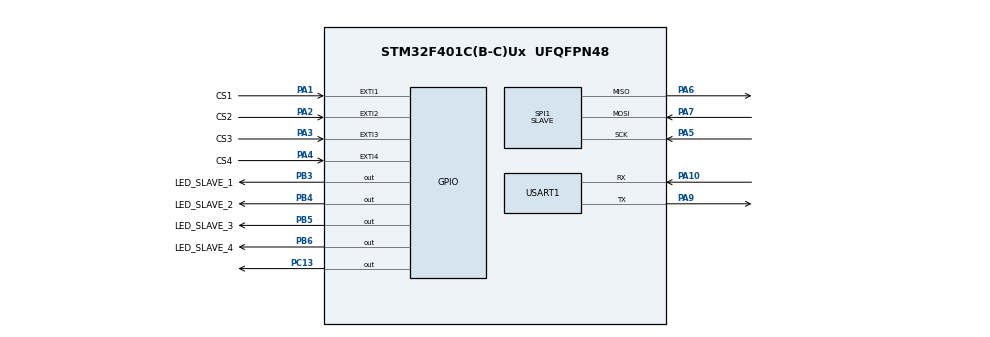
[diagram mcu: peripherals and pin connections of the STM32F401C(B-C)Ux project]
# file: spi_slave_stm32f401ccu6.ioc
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Mcu.Family=STM32F4
Mcu.Name=STM32F401C(B-C)Ux
Mcu.Package=UFQFPN48
NVIC.PriorityGroup=NVIC_PRIORITYGROUP_4
NVIC.SPI1_IRQn=true\:0\:0\:false\:false\:true\:true\:true\:true
PA1.GPIO_Label=CS1
PA1.GPIO_ModeDefaultEXTI=GPIO_MODE_IT_RISING_FALLING
PA1.GPIO_PuPd=GPIO_PULLUP
PA1.Signal=GPXTI1
PA10.Mode=Asynchronous
PA10.Signal=USART1_RX
PA13.Mode=Serial_Wire
PA13.Signal=SYS_JTMS-SWDIO
PA14.Mode=Serial_Wire
PA14.Signal=SYS_JTCK-SWCLK
PA2.GPIO_Label=CS2
PA2.GPIO_ModeDefaultEXTI=GPIO_MODE_IT_RISING_FALLING
PA2.GPIO_PuPd=GPIO_PULLUP
PA2.Signal=GPXTI2
PA3.GPIO_Label=CS3
PA3.GPIO_ModeDefaultEXTI=GPIO_MODE_IT_RISING_FALLING
PA3.GPIO_PuPd=GPIO_PULLUP
PA3.Signal=GPXTI3
PA4.GPIO_Label=CS4
PA4.GPIO_ModeDefaultEXTI=GPIO_MODE_IT_RISING_FALLING
PA4.GPIO_PuPd=GPIO_PULLUP
PA4.Signal=GPXTI4
PA5.GPIO_Speed=GPIO_SPEED_FREQ_VERY_HIGH
PA5.Mode=Full_Duplex_Slave
PA5.Signal=SPI1_SCK
PA6.GPIO_Speed=GPIO_SPEED_FREQ_VERY_HIGH
PA6.Mode=Full_Duplex_Slave
PA6.Signal=SPI1_MISO
PA7.GPIO_Speed=GPIO_SPEED_FREQ_VERY_HIGH
PA7.Mode=Full_Duplex_Slave
PA7.Signal=SPI1_MOSI
PA9.Mode=Asynchronous
PA9.Signal=USART1_TX
PB3.GPIO_Label=LED_SLAVE_1
PB3.Signal=GPIO_Output
PB4.GPIO_Label=LED_SLAVE_2
PB4.Signal=GPIO_Output
PB5.GPIO_Label=LED_SLAVE_3
PB5.Signal=GPIO_Output
PB6.GPIO_Label=LED_SLAVE_4
PB6.Signal=GPIO_Output
PC13-ANTI_TAMP.Signal=GPIO_Output
PH0\ -\ OSC_IN.Mode=HSE-External-Oscillator
PH0\ -\ OSC_IN.Signal=RCC_OSC_IN
PH1\ -\ OSC_OUT.Mode=HSE-External-Oscillator
PH1\ -\ OSC_OUT.Signal=RCC_OSC_OUT
ProjectManager.HeapSize=0x200
ProjectManager.StackSize=0x400
ProjectManager.TargetToolchain=STM32CubeIDE
RCC.AHBCLKDivider=RCC_SYSCLK_DIV2
RCC.AHBFreq_Value=8000000
RCC.APB1Freq_Value=8000000
RCC.APB1TimFreq_Value=8000000
RCC.APB2Freq_Value=8000000
RCC.APB2TimFreq_Value=8000000
RCC.CortexFreq_Value=8000000
RCC.HCLKFreq_Value=8000000
RCC.HSE_VALUE=25000000
RCC.HSI_VALUE=16000000
RCC.LSE_VALUE=32768
RCC.SYSCLKFreq_VALUE=16000000
RCC.VCOOutputFreq_Value=192000000
SPI1.Direction=SPI_DIRECTION_2LINES
SPI1.Mode=SPI_MODE_SLAVE
SPI1.VirtualType=VM_SLAVE
USART1.VirtualMode=VM_ASYNC
board=custom

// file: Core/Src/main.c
/* USER CODE BEGIN Header */
/**
 ******************************************************************************
 * @file           : main.c
 * @brief          : Main program body
 ******************************************************************************
 * @attention
 *
 * Copyright (c) 2024 STMicroelectronics.
 * All rights reserved.
 *
 * This software is licensed under terms that can be found in the LICENSE file
 * in the root directory of this software component.
 * If no LICENSE file comes with this software, it is provided AS-IS.
 *
 ******************************************************************************
 */
/* USER CODE END Header */
#include "main.h"

/* USER CODE BEGIN Includes */
#include "string.h"
#include "stdarg.h"
#include "stdio.h"
#include "stdbool.h"
#include "slave_reg.h"
/* USER CODE END Includes */

/* USER CODE BEGIN PV */
uint8_t data[100] = {0};
uint8_t *global_rxdata;
uint8_t global_rxindex;
uint8_t global_rxlen;

uint8_t global_txdata[100];
uint8_t global_txlen = 100;
uint8_t global_txindex = 0;

char g_slave_choice;

slave_t slaves[4] = {
    {.device_id = 1, .memory = {0}},
    {.device_id = 2, .memory = {0}},
    {.device_id = 3, .memory = {0}},
    {.device_id = 4, .memory = {0}}};
slave_t *slave1 = &slaves[0];
slave_t *slave2 = &slaves[1];
/* USER CODE END PV */

void SystemClock_Config(void);
static void MX_GPIO_Init(void);
static void MX_SPI1_Init(void);
static void MX_USART1_UART_Init(void);
/* USER CODE BEGIN PFP */
bool spi_receive_it(uint8_t *pData, uint8_t len, uint32_t timeout);
/* USER CODE END PFP */

int main(void)
{

  /* MCU Configuration--------------------------------------------------------*/

  /* Reset of all peripherals, Initializes the Flash interface and the Systick. */
  LL_APB2_GRP1_EnableClock(LL_APB2_GRP1_PERIPH_SYSCFG);
  LL_APB1_GRP1_EnableClock(LL_APB1_GRP1_PERIPH_PWR);

  /* System interrupt init*/
  NVIC_SetPriorityGrouping(NVIC_PRIORITYGROUP_4);

  /* SysTick_IRQn interrupt configuration */
  NVIC_SetPriority(SysTick_IRQn, NVIC_EncodePriority(NVIC_GetPriorityGrouping(), 15, 0));

  /* Configure the system clock */
  SystemClock_Config();

  /* Initialize all configured peripherals */
  MX_GPIO_Init();
  MX_SPI1_Init();
  MX_USART1_UART_Init();
  /* USER CODE BEGIN 2 */
  uart_printf("test uart printf\r\n");
  //  LL_SPI_EnableIT_RXNE(SPI1);
  //  uart_printf("data test: 0x%02X\r\n", 0x34);
  // Bật ngắt bộ đệm truy�?n
  //  LL_SPI_EnableIT_TXE(SPI1);
  //  uint32_t rxdata[10] = {0x12, 0x34, 0x56, 0x78, 0x9A, 0xBC, 0xDE, 0xF0, 0x11, 0x22};
  //  for(int i=0;i<10;i++)
  //	  uart_printf("rx_data=0x%02X\r\n",rxdata[i]);

  spi_receive_it(data, 100, 1000);
  /* USER CODE END 2 */

  /* Infinite loop */
  while (1)
  {

    /* USER CODE BEGIN 3 */
    //	  spi_receive_it(data, 100, 1000);
    //	  LL_mDelay(1000);
  }
  /* USER CODE END 3 */
}

void SystemClock_Config(void)
{
  LL_FLASH_SetLatency(LL_FLASH_LATENCY_0);
  while (LL_FLASH_GetLatency() != LL_FLASH_LATENCY_0)
  {
  }
  LL_PWR_SetRegulVoltageScaling(LL_PWR_REGU_VOLTAGE_SCALE2);
  LL_RCC_HSI_SetCalibTrimming(16);
  LL_RCC_HSI_Enable();

  /* Wait till HSI is ready */
  while (LL_RCC_HSI_IsReady() != 1)
  {
  }
  LL_RCC_SetAHBPrescaler(LL_RCC_SYSCLK_DIV_2);
  LL_RCC_SetAPB1Prescaler(LL_RCC_APB1_DIV_1);
  LL_RCC_SetAPB2Prescaler(LL_RCC_APB2_DIV_1);
  LL_RCC_SetSysClkSource(LL_RCC_SYS_CLKSOURCE_HSI);

  /* Wait till System clock is ready */
  while (LL_RCC_GetSysClkSource() != LL_RCC_SYS_CLKSOURCE_STATUS_HSI)
  {
  }
  LL_Init1msTick(8000000);
  LL_SetSystemCoreClock(8000000);
  LL_RCC_SetTIMPrescaler(LL_RCC_TIM_PRESCALER_TWICE);
}

static void MX_SPI1_Init(void)
{

  LL_SPI_InitTypeDef SPI_InitStruct = {0};

  LL_GPIO_InitTypeDef GPIO_InitStruct = {0};

  /* Peripheral clock enable */
  LL_APB2_GRP1_EnableClock(LL_APB2_GRP1_PERIPH_SPI1);

  LL_AHB1_GRP1_EnableClock(LL_AHB1_GRP1_PERIPH_GPIOA);
  /**SPI1 GPIO Configuration
  PA5   ------> SPI1_SCK
  PA6   ------> SPI1_MISO
  PA7   ------> SPI1_MOSI
  */
  GPIO_InitStruct.Pin = LL_GPIO_PIN_5 | LL_GPIO_PIN_6 | LL_GPIO_PIN_7;
  GPIO_InitStruct.Mode = LL_GPIO_MODE_ALTERNATE;
  GPIO_InitStruct.Speed = LL_GPIO_SPEED_FREQ_VERY_HIGH;
  GPIO_InitStruct.OutputType = LL_GPIO_OUTPUT_PUSHPULL;
  GPIO_InitStruct.Pull = LL_GPIO_PULL_NO;
  GPIO_InitStruct.Alternate = LL_GPIO_AF_5;
  LL_GPIO_Init(GPIOA, &GPIO_InitStruct);

  /* SPI1 interrupt Init */
  NVIC_SetPriority(SPI1_IRQn, NVIC_EncodePriority(NVIC_GetPriorityGrouping(), 0, 0));
  NVIC_EnableIRQ(SPI1_IRQn);

  /* SPI1 parameter configuration*/
  SPI_InitStruct.TransferDirection = LL_SPI_FULL_DUPLEX;
  SPI_InitStruct.Mode = LL_SPI_MODE_SLAVE;
  SPI_InitStruct.DataWidth = LL_SPI_DATAWIDTH_8BIT;
  SPI_InitStruct.ClockPolarity = LL_SPI_POLARITY_LOW;
  SPI_InitStruct.ClockPhase = LL_SPI_PHASE_1EDGE;
  SPI_InitStruct.NSS = LL_SPI_NSS_SOFT;
  SPI_InitStruct.BitOrder = LL_SPI_MSB_FIRST;
  SPI_InitStruct.CRCCalculation = LL_SPI_CRCCALCULATION_DISABLE;
  SPI_InitStruct.CRCPoly = 10;
  LL_SPI_Init(SPI1, &SPI_InitStruct);
  LL_SPI_SetStandard(SPI1, LL_SPI_PROTOCOL_MOTOROLA);
  /* USER CODE BEGIN SPI1_Init 2 */
  LL_SPI_Enable(SPI1);
  /* USER CODE END SPI1_Init 2 */
  //  LL_SPI_SetDataWidth(SPI1, LL_SPI_DATAWIDTH_16BIT);
}

static void MX_USART1_UART_Init(void)
{

  LL_USART_InitTypeDef USART_InitStruct = {0};

  LL_GPIO_InitTypeDef GPIO_InitStruct = {0};

  /* Peripheral clock enable */
  LL_APB2_GRP1_EnableClock(LL_APB2_GRP1_PERIPH_USART1);

  LL_AHB1_GRP1_EnableClock(LL_AHB1_GRP1_PERIPH_GPIOA);
  /**USART1 GPIO Configuration
  PA9   ------> USART1_TX
  PA10   ------> USART1_RX
  */
  GPIO_InitStruct.Pin = LL_GPIO_PIN_9 | LL_GPIO_PIN_10;
  GPIO_InitStruct.Mode = LL_GPIO_MODE_ALTERNATE;
  GPIO_InitStruct.Speed = LL_GPIO_SPEED_FREQ_VERY_HIGH;
  GPIO_InitStruct.OutputType = LL_GPIO_OUTPUT_PUSHPULL;
  GPIO_InitStruct.Pull = LL_GPIO_PULL_NO;
  GPIO_InitStruct.Alternate = LL_GPIO_AF_7;
  LL_GPIO_Init(GPIOA, &GPIO_InitStruct);

  USART_InitStruct.BaudRate = 115200;
  USART_InitStruct.DataWidth = LL_USART_DATAWIDTH_8B;
  USART_InitStruct.StopBits = LL_USART_STOPBITS_1;
  USART_InitStruct.Parity = LL_USART_PARITY_NONE;
  USART_InitStruct.TransferDirection = LL_USART_DIRECTION_TX_RX;
  USART_InitStruct.HardwareFlowControl = LL_USART_HWCONTROL_NONE;
  USART_InitStruct.OverSampling = LL_USART_OVERSAMPLING_16;
  LL_USART_Init(USART1, &USART_InitStruct);
  LL_USART_ConfigAsyncMode(USART1);
  LL_USART_Enable(USART1);
}

static void MX_GPIO_Init(void)
{
  LL_EXTI_InitTypeDef EXTI_InitStruct = {0};
  LL_GPIO_InitTypeDef GPIO_InitStruct = {0};

  /* GPIO Ports Clock Enable */
  LL_AHB1_GRP1_EnableClock(LL_AHB1_GRP1_PERIPH_GPIOC);
  LL_AHB1_GRP1_EnableClock(LL_AHB1_GRP1_PERIPH_GPIOH);
  LL_AHB1_GRP1_EnableClock(LL_AHB1_GRP1_PERIPH_GPIOA);
  LL_AHB1_GRP1_EnableClock(LL_AHB1_GRP1_PERIPH_GPIOB);

  /**/
  LL_GPIO_ResetOutputPin(GPIOC, LL_GPIO_PIN_13);

  /**/
  LL_GPIO_ResetOutputPin(GPIOB, LED_SLAVE_1_Pin | LED_SLAVE_2_Pin | LED_SLAVE_3_Pin | LED_SLAVE_4_Pin);

  /**/
  GPIO_InitStruct.Pin = LL_GPIO_PIN_13;
  GPIO_InitStruct.Mode = LL_GPIO_MODE_OUTPUT;
  GPIO_InitStruct.Speed = LL_GPIO_SPEED_FREQ_LOW;
  GPIO_InitStruct.OutputType = LL_GPIO_OUTPUT_PUSHPULL;
  GPIO_InitStruct.Pull = LL_GPIO_PULL_NO;
  LL_GPIO_Init(GPIOC, &GPIO_InitStruct);

  /**/
  GPIO_InitStruct.Pin = LED_SLAVE_1_Pin | LED_SLAVE_2_Pin | LED_SLAVE_3_Pin | LED_SLAVE_4_Pin;
  GPIO_InitStruct.Mode = LL_GPIO_MODE_OUTPUT;
  GPIO_InitStruct.Speed = LL_GPIO_SPEED_FREQ_LOW;
  GPIO_InitStruct.OutputType = LL_GPIO_OUTPUT_PUSHPULL;
  GPIO_InitStruct.Pull = LL_GPIO_PULL_NO;
  LL_GPIO_Init(GPIOB, &GPIO_InitStruct);

  /**/
  LL_SYSCFG_SetEXTISource(LL_SYSCFG_EXTI_PORTA, LL_SYSCFG_EXTI_LINE1);

  /**/
  LL_SYSCFG_SetEXTISource(LL_SYSCFG_EXTI_PORTA, LL_SYSCFG_EXTI_LINE2);

  /**/
  LL_SYSCFG_SetEXTISource(LL_SYSCFG_EXTI_PORTA, LL_SYSCFG_EXTI_LINE3);

  /**/
  LL_SYSCFG_SetEXTISource(LL_SYSCFG_EXTI_PORTA, LL_SYSCFG_EXTI_LINE4);

  /**/
  EXTI_InitStruct.Line_0_31 = LL_EXTI_LINE_1;
  EXTI_InitStruct.LineCommand = ENABLE;
  EXTI_InitStruct.Mode = LL_EXTI_MODE_IT;
  EXTI_InitStruct.Trigger = LL_EXTI_TRIGGER_RISING_FALLING;
  LL_EXTI_Init(&EXTI_InitStruct);

  /**/
  EXTI_InitStruct.Line_0_31 = LL_EXTI_LINE_2;
  EXTI_InitStruct.LineCommand = ENABLE;
  EXTI_InitStruct.Mode = LL_EXTI_MODE_IT;
  EXTI_InitStruct.Trigger = LL_EXTI_TRIGGER_RISING_FALLING;
  LL_EXTI_Init(&EXTI_InitStruct);

  /**/
  EXTI_InitStruct.Line_0_31 = LL_EXTI_LINE_3;
  EXTI_InitStruct.LineCommand = ENABLE;
  EXTI_InitStruct.Mode = LL_EXTI_MODE_IT;
  EXTI_InitStruct.Trigger = LL_EXTI_TRIGGER_RISING_FALLING;
  LL_EXTI_Init(&EXTI_InitStruct);

  /**/
  EXTI_InitStruct.Line_0_31 = LL_EXTI_LINE_4;
  EXTI_InitStruct.LineCommand = ENABLE;
  EXTI_InitStruct.Mode = LL_EXTI_MODE_IT;
  EXTI_InitStruct.Trigger = LL_EXTI_TRIGGER_RISING_FALLING;
  LL_EXTI_Init(&EXTI_InitStruct);

  /**/
  LL_GPIO_SetPinPull(CS1_GPIO_Port, CS1_Pin, LL_GPIO_PULL_UP);

  /**/
  LL_GPIO_SetPinPull(CS2_GPIO_Port, CS2_Pin, LL_GPIO_PULL_UP);

  /**/
  LL_GPIO_SetPinPull(CS3_GPIO_Port, CS3_Pin, LL_GPIO_PULL_UP);

  /**/
  LL_GPIO_SetPinPull(CS4_GPIO_Port, CS4_Pin, LL_GPIO_PULL_UP);

  /**/
  LL_GPIO_SetPinMode(CS1_GPIO_Port, CS1_Pin, LL_GPIO_MODE_INPUT);

  /**/
  LL_GPIO_SetPinMode(CS2_GPIO_Port, CS2_Pin, LL_GPIO_MODE_INPUT);

  /**/
  LL_GPIO_SetPinMode(CS3_GPIO_Port, CS3_Pin, LL_GPIO_MODE_INPUT);

  /**/
  LL_GPIO_SetPinMode(CS4_GPIO_Port, CS4_Pin, LL_GPIO_MODE_INPUT);

  /* USER CODE BEGIN MX_GPIO_Init_2 */
  NVIC_SetPriority(EXTI1_IRQn, 0);
  NVIC_EnableIRQ(EXTI1_IRQn);

  NVIC_SetPriority(EXTI2_IRQn, 0);
  NVIC_EnableIRQ(EXTI2_IRQn);

  NVIC_SetPriority(EXTI3_IRQn, 0);
  NVIC_EnableIRQ(EXTI3_IRQn);

  NVIC_SetPriority(EXTI4_IRQn, 0);
  NVIC_EnableIRQ(EXTI4_IRQn);

  /* USER CODE END MX_GPIO_Init_2 */
}

/* USER CODE BEGIN 4 */
void uart_print(const char *str)
{
  uint32_t length = strlen(str);
  for (uint32_t i = 0; i < length; i++)
  {
    while (!LL_USART_IsActiveFlag_TXE(USART1))
      ;
    LL_USART_TransmitData8(USART1, (uint8_t)str[i]);
  }
  while (!LL_USART_IsActiveFlag_TC(USART1))
    ;
}

void uart_printf(const char *format, ...)
{
  char buffer[128];
  va_list args;
  va_start(args, format);
  vsnprintf(buffer, sizeof(buffer), format, args); // Use vsnprintf to format string
  va_end(args);
  uart_print(buffer);
}

bool spi_receive_it(uint8_t *pData, uint8_t len, uint32_t timeout)
{
  uint32_t count = 0;
  global_rxdata = pData;
  global_rxlen = len;
  global_rxindex = 0; // �?ặt lại chỉ số toàn cục
                      // Ch�? c�? BUSY tắt
  while (SPI1->SR & SPI_SR_BSY)
  {
    if (count > timeout)
    {
      return false;
    }
    else
      count++;
  }
  // Bật ngoại vi SPI
  SPI1->CR1 |= SPI_CR1_SPE;
  // Bật bộ đệm ngắt
  SPI1->CR2 |= SPI_CR2_RXNEIE;

  // Truy�?n byte rác ra
  SPI1->DR = 0xFF;

  return true;
}
void process_irq_spi1(void)
{
  // Kiểm tra ngắt RXNE (Nhận dữ liệu)
  LL_GPIO_TogglePin(GPIOC, LL_GPIO_PIN_13);
  // Ngắt nhận không chạy được
  if (LL_SPI_IsActiveFlag_RXNE(SPI1))
  {
    if (global_rxindex >= global_rxlen)
    {
      // Tắt ngắt bộ đệm truy�?n
      LL_SPI_DisableIT_RXNE(SPI1);

      // Xóa c�? OVERRUN bằng cách đ�?c DR và SR
      LL_SPI_ClearFlag_OVR(SPI1);
    }
    // Truy�?n dữ liệu rác trước
    // Kiểm tra bộ đệm truy�?n có trống hay không và isTransmit = 1 hay không
    else if (LL_SPI_IsActiveFlag_TXE(SPI1))
    {
      global_rxdata[global_rxindex] = LL_SPI_ReceiveData8(SPI1);
      uart_printf("rxdata[%d]=0x%02X\r\n", global_rxindex, data[global_rxindex]);
      global_rxindex++;
      LL_SPI_TransmitData8(SPI1, 0xDB);
    }
  }
}

void slave_choice(char choice)
{

  g_slave_choice = choice;
}
/* USER CODE END 4 */

void Error_Handler(void)
{
  __disable_irq();
  while (1)
  {
  }
}
